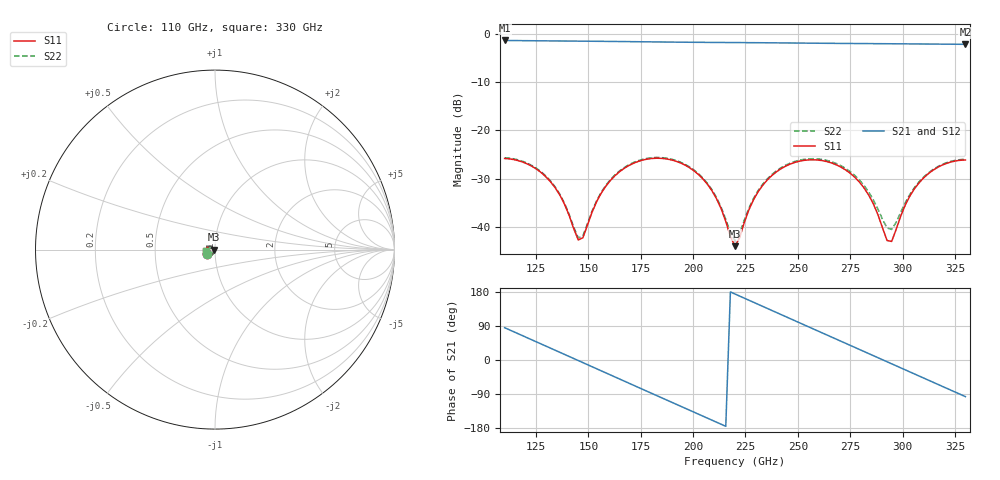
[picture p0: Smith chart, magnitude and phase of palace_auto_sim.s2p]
#  GHZ S DB R 50
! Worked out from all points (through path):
!   101 points, 110 GHz to 330 GHz, reference 50 ohm
!   highest |S21| = -1.43 dB at 110 GHz (marker M1); lowest = -2.2 dB at 330 GHz (marker M2)
!   group delay of S21, straight-line fit = 6.84 ps
!   lowest |S11| = -44.0 dB at 220 GHz (marker M3), VSWR 1.01, Z = 49.4 - j0.0989 ohm
!   |S11| at or under -10 dB: start of sweep to end of sweep
!   |S22| runs from -42.9 to -25.6 dB; largest |S21 - S12| = 9.6e-14
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110  -25.83 -153.1  -1.43 85.3  -1.43 85.3  -25.68 -151.5
129.8  -29.66 163.4  -1.52 36.5  -1.52 36.5  -29.49 165.4
138.6  -35.29 153.7  -1.55 14.8  -1.55 14.8  -35.09 156.2
145.2  -42.69 -170.5  -1.57 -1.5  -1.57 -1.5  -42.26 -168.2
147.4  -42.21 -139.4  -1.58 -7.0  -1.58 -7.0  -41.81 -138.2
154  -34.70 -111.3  -1.60 -23.3  -1.60 -23.3  -34.51 -110.1
162.8  -29.35 -122.0  -1.64 -45.0  -1.64 -45.0  -29.18 -120.2
173.8  -26.44 -144.7  -1.69 -72.2  -1.69 -72.2  -26.28 -142.6
184.8  -25.80 -169.4  -1.75 -99.3  -1.75 -99.3  -25.65 -167.0
206.8  -31.15 145.1  -1.83 -153.4  -1.83 -153.4  -30.95 148.9
220  -43.96 -170.9  -1.87 174.1  -1.87 174.1  -42.86 -167.9
228.8  -34.40 -119.3  -1.89 152.4  -1.89 152.4  -34.12 -118.4
235.4  -30.28 -127.1  -1.91 136.2  -1.91 136.2  -30.06 -125.3
246.4  -26.98 -148.5  -1.95 109.0  -1.95 109.0  -26.78 -145.8
257.4  -26.10 -172.0  -2.00 82.0  -2.00 82.0  -25.88 -168.6
277.2  -29.72 147.8  -2.06 33.3  -2.06 33.3  -29.34 153.3
292.6  -42.80 169.8  -2.11 -4.6  -2.11 -4.6  -40.20 174.5
294.8  -42.98 -157.7  -2.11 -10.0  -2.11 -10.0  -40.51 -162.3
301.4  -35.35 -123.4  -2.14 -26.3  -2.14 -26.3  -34.88 -128.4
308  -30.80 -128.8  -2.16 -42.5  -2.16 -42.5  -30.60 -130.7
319  -27.19 -148.9  -2.19 -69.6  -2.19 -69.6  -27.05 -148.7
330  -26.15 -171.6  -2.23 -96.6  -2.23 -96.6  -26.00 -170.3
